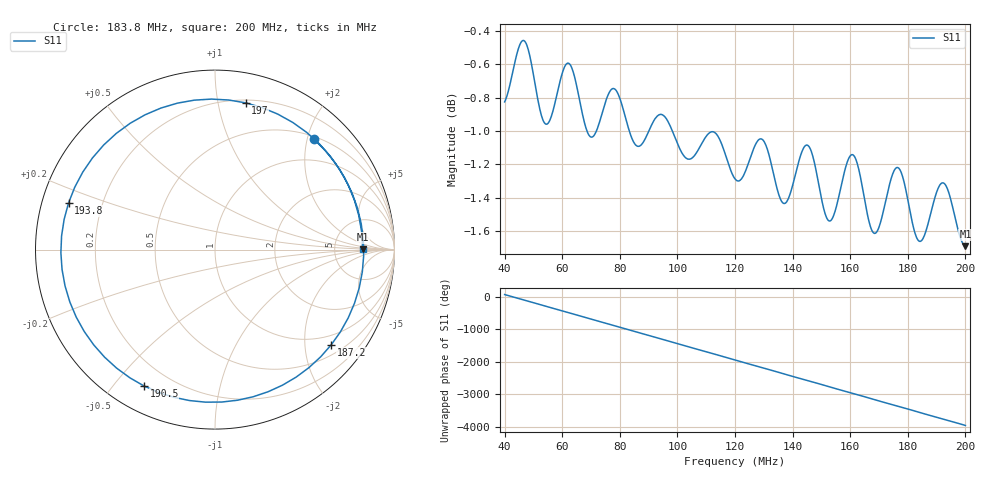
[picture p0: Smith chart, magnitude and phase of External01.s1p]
# Hz S RI R 50
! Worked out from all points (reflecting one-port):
!   641 points, 40 MHz to 200 MHz, reference 50 ohm
!   lowest |S11| = -1.7 dB at 200 MHz (marker M1), VSWR 10.30, Z = 515 + j5.86 ohm
!   phase of S11 starts at 68 deg and turns -4028 deg over the sweep
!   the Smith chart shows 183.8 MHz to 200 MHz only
!   S11 on the Smith chart (normalised r, x): 183.8 MHz: 0.54, +2.11; 187.2 MHz: 0.74, -2.62; 190.5 MHz: 0.11, -0.60; 193.8 MHz: 0.08, +0.15; 197 MHz: 0.22, +1.21; 200 MHz: 10, +0
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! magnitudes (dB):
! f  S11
! 40 MHz  -0.8
! 46.25 MHz  -0.5
! 54 MHz  -1.0
! 60 MHz  -0.7
! 63.25 MHz  -0.6
! 70 MHz  -1.0
! 76.75 MHz  -0.8
! 80 MHz  -0.8
! 85.75 MHz  -1.1
! 94.25 MHz  -0.9
! 100 MHz  -1.1
! 112.8 MHz  -1.0
! 120 MHz  -1.3
! 129 MHz  -1.0
! 136.2 MHz  -1.4
! 140 MHz  -1.3
! 145.5 MHz  -1.1
! 153 MHz  -1.5
! 160 MHz  -1.1
! 168.2 MHz  -1.6
! 175.8 MHz  -1.2
! 180 MHz  -1.4
! 183.8 MHz  -1.7
! 187.2 MHz  -1.5
! 190.5 MHz  -1.3
! 193.8 MHz  -1.3
! 197 MHz  -1.6
! 200 MHz  -1.7
